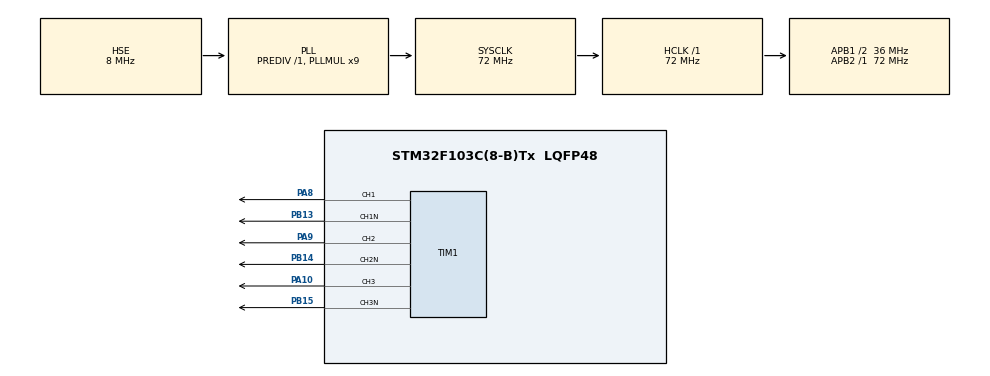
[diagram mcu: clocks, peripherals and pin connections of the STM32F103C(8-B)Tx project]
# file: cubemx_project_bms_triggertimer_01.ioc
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Mcu.Family=STM32F1
Mcu.Name=STM32F103C(8-B)Tx
Mcu.Package=LQFP48
NVIC.PriorityGroup=NVIC_PRIORITYGROUP_4
NVIC.RCC_IRQn=true\:0\:0\:false\:false\:true\:true\:false\:true
NVIC.TIM1_CC_IRQn=true\:0\:0\:false\:false\:true\:true\:true\:true
NVIC.TIM1_TRG_COM_IRQn=true\:0\:0\:false\:false\:true\:true\:true\:true
NVIC.TIM2_IRQn=true\:0\:0\:false\:false\:true\:true\:true\:true
PA10.GPIO_Speed=GPIO_SPEED_FREQ_HIGH
PA10.Signal=S_TIM1_CH3
PA13.Mode=Serial_Wire
PA13.Signal=SYS_JTMS-SWDIO
PA14.Mode=Serial_Wire
PA14.Signal=SYS_JTCK-SWCLK
PA8.GPIO_ModeDefaultPP=GPIO_MODE_AF_PP
PA8.GPIO_Speed=GPIO_SPEED_FREQ_HIGH
PA8.Signal=S_TIM1_CH1
PA9.GPIO_Speed=GPIO_SPEED_FREQ_HIGH
PA9.Signal=S_TIM1_CH2
PB13.GPIO_ModeDefaultPP=GPIO_MODE_AF_PP
PB13.GPIO_Speed=GPIO_SPEED_FREQ_HIGH
PB13.Mode=PWM Generation1 CH1 CH1N
PB13.Signal=TIM1_CH1N
PB14.GPIO_Speed=GPIO_SPEED_FREQ_HIGH
PB14.Mode=PWM Generation2 CH2 CH2N
PB14.Signal=TIM1_CH2N
PB15.GPIO_Speed=GPIO_SPEED_FREQ_HIGH
PB15.Mode=PWM Generation3 CH3 CH3N
PB15.Signal=TIM1_CH3N
PD0-OSC_IN.Mode=HSE-External-Oscillator
PD0-OSC_IN.Signal=RCC_OSC_IN
PD1-OSC_OUT.Mode=HSE-External-Oscillator
PD1-OSC_OUT.Signal=RCC_OSC_OUT
ProjectManager.HeapSize=0x200
ProjectManager.StackSize=0x400
ProjectManager.TargetToolchain=STM32CubeIDE
RCC.AHBFreq_Value=72000000
RCC.APB1CLKDivider=RCC_HCLK_DIV2
RCC.APB1Freq_Value=36000000
RCC.APB1TimFreq_Value=72000000
RCC.APB2Freq_Value=72000000
RCC.APB2TimFreq_Value=72000000
RCC.HCLKFreq_Value=72000000
RCC.PLLMUL=RCC_PLL_MUL9
RCC.PLLSourceVirtual=RCC_PLLSOURCE_HSE
RCC.SYSCLKFreq_VALUE=72000000
RCC.SYSCLKSource=RCC_SYSCLKSOURCE_PLLCLK
RCC.USBFreq_Value=72000000
SH.S_TIM1_CH1.0=TIM1_CH1,PWM Generation1 CH1 CH1N
SH.S_TIM1_CH2.0=TIM1_CH2,PWM Generation2 CH2 CH2N
SH.S_TIM1_CH3.0=TIM1_CH3,PWM Generation3 CH3 CH3N
TIM1.Channel-PWM\ Generation1\ CH1\ CH1N=TIM_CHANNEL_1
TIM1.Channel-PWM\ Generation2\ CH2\ CH2N=TIM_CHANNEL_2
TIM1.Channel-PWM\ Generation3\ CH3\ CH3N=TIM_CHANNEL_3
TIM1.OCFastMode_PWM-PWM\ Generation1\ CH1\ CH1N=TIM_OCFAST_DISABLE
TIM1.OCFastMode_PWM-PWM\ Generation2\ CH2\ CH2N=TIM_OCFAST_DISABLE
TIM1.OCFastMode_PWM-PWM\ Generation3\ CH3\ CH3N=TIM_OCFAST_DISABLE
TIM1.TIM_MasterOutputTrigger=TIM_TRGO_UPDATE
TIM1.TIM_MasterSlaveMode=TIM_MASTERSLAVEMODE_ENABLE
VP_TIM1_VS_ClockSourceINT.Mode=Internal
VP_TIM2_VS_ClockSourceINT.Mode=Internal
VP_TIM2_VS_ClockSourceITR.Mode=TriggerSource_ITR0
VP_TIM2_VS_ControllerModeReset.Mode=Reset Mode
board=custom

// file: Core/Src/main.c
/* USER CODE BEGIN Header */
/**
  ******************************************************************************
  * @file           : main.c
  * @brief          : Main program body
  ******************************************************************************
  * @attention
  *
  * Copyright (c) 2024 STMicroelectronics.
  * All rights reserved.
  *
  * This software is licensed under terms that can be found in the LICENSE file
  * in the root directory of this software component.
  * If no LICENSE file comes with this software, it is provided AS-IS.
  *
  ******************************************************************************
  */
/* USER CODE END Header */
#include "main.h"

TIM_HandleTypeDef htim1;
TIM_HandleTypeDef htim2;

/* USER CODE BEGIN PV */
uint16_t count1;
uint16_t count2;
uint16_t autoReload = 60;
uint16_t prescaler = 12;
/* USER CODE END PV */

void SystemClock_Config(void);
static void MX_GPIO_Init(void);
static void MX_TIM1_Init(void);
static void MX_TIM2_Init(void);
/* USER CODE BEGIN PFP */
void UsrInitPwm(void);
void UsrTim2Init(void);
void UsrInitGpio(void);
/* USER CODE END PFP */

int main(void)
{

  /* MCU Configuration--------------------------------------------------------*/

  /* Reset of all peripherals, Initializes the Flash interface and the Systick. */
  HAL_Init();

  /* Configure the system clock */
  SystemClock_Config();

  /* Initialize all configured peripherals */
  MX_GPIO_Init();
  MX_TIM1_Init();
  MX_TIM2_Init();
  /* USER CODE BEGIN 2 */
  UsrTim2Init();
  UsrInitPwm();
  UsrInitGpio();
  /* USER CODE END 2 */

  /* Infinite loop */
  while (1)
  {

  }
}

void SystemClock_Config(void)
{
  RCC_OscInitTypeDef RCC_OscInitStruct = {0};
  RCC_ClkInitTypeDef RCC_ClkInitStruct = {0};

  /** Initializes the RCC Oscillators according to the specified parameters
  * in the RCC_OscInitTypeDef structure.
  */
  RCC_OscInitStruct.OscillatorType = RCC_OSCILLATORTYPE_HSE;
  RCC_OscInitStruct.HSEState = RCC_HSE_ON;
  RCC_OscInitStruct.HSEPredivValue = RCC_HSE_PREDIV_DIV1;
  RCC_OscInitStruct.HSIState = RCC_HSI_ON;
  RCC_OscInitStruct.PLL.PLLState = RCC_PLL_ON;
  RCC_OscInitStruct.PLL.PLLSource = RCC_PLLSOURCE_HSE;
  RCC_OscInitStruct.PLL.PLLMUL = RCC_PLL_MUL9;
  if (HAL_RCC_OscConfig(&RCC_OscInitStruct) != HAL_OK)
  {
    Error_Handler();
  }

  /** Initializes the CPU, AHB and APB buses clocks
  */
  RCC_ClkInitStruct.ClockType = RCC_CLOCKTYPE_HCLK|RCC_CLOCKTYPE_SYSCLK
                              |RCC_CLOCKTYPE_PCLK1|RCC_CLOCKTYPE_PCLK2;
  RCC_ClkInitStruct.SYSCLKSource = RCC_SYSCLKSOURCE_PLLCLK;
  RCC_ClkInitStruct.AHBCLKDivider = RCC_SYSCLK_DIV1;
  RCC_ClkInitStruct.APB1CLKDivider = RCC_HCLK_DIV2;
  RCC_ClkInitStruct.APB2CLKDivider = RCC_HCLK_DIV1;

  if (HAL_RCC_ClockConfig(&RCC_ClkInitStruct, FLASH_LATENCY_2) != HAL_OK)
  {
    Error_Handler();
  }
}

static void MX_TIM1_Init(void)
{

  TIM_ClockConfigTypeDef sClockSourceConfig = {0};
  TIM_MasterConfigTypeDef sMasterConfig = {0};
  TIM_OC_InitTypeDef sConfigOC = {0};
  TIM_BreakDeadTimeConfigTypeDef sBreakDeadTimeConfig = {0};

  htim1.Instance = TIM1;
  htim1.Init.Prescaler = 0;
  htim1.Init.CounterMode = TIM_COUNTERMODE_UP;
  htim1.Init.Period = 65535;
  htim1.Init.ClockDivision = TIM_CLOCKDIVISION_DIV1;
  htim1.Init.RepetitionCounter = 0;
  htim1.Init.AutoReloadPreload = TIM_AUTORELOAD_PRELOAD_DISABLE;
  if (HAL_TIM_Base_Init(&htim1) != HAL_OK)
  {
    Error_Handler();
  }
  sClockSourceConfig.ClockSource = TIM_CLOCKSOURCE_INTERNAL;
  if (HAL_TIM_ConfigClockSource(&htim1, &sClockSourceConfig) != HAL_OK)
  {
    Error_Handler();
  }
  if (HAL_TIM_PWM_Init(&htim1) != HAL_OK)
  {
    Error_Handler();
  }
  sMasterConfig.MasterOutputTrigger = TIM_TRGO_UPDATE;
  sMasterConfig.MasterSlaveMode = TIM_MASTERSLAVEMODE_ENABLE;
  if (HAL_TIMEx_MasterConfigSynchronization(&htim1, &sMasterConfig) != HAL_OK)
  {
    Error_Handler();
  }
  sConfigOC.OCMode = TIM_OCMODE_PWM1;
  sConfigOC.Pulse = 0;
  sConfigOC.OCPolarity = TIM_OCPOLARITY_HIGH;
  sConfigOC.OCNPolarity = TIM_OCNPOLARITY_HIGH;
  sConfigOC.OCFastMode = TIM_OCFAST_DISABLE;
  sConfigOC.OCIdleState = TIM_OCIDLESTATE_RESET;
  sConfigOC.OCNIdleState = TIM_OCNIDLESTATE_RESET;
  if (HAL_TIM_PWM_ConfigChannel(&htim1, &sConfigOC, TIM_CHANNEL_1) != HAL_OK)
  {
    Error_Handler();
  }
  if (HAL_TIM_PWM_ConfigChannel(&htim1, &sConfigOC, TIM_CHANNEL_2) != HAL_OK)
  {
    Error_Handler();
  }
  if (HAL_TIM_PWM_ConfigChannel(&htim1, &sConfigOC, TIM_CHANNEL_3) != HAL_OK)
  {
    Error_Handler();
  }
  sBreakDeadTimeConfig.OffStateRunMode = TIM_OSSR_DISABLE;
  sBreakDeadTimeConfig.OffStateIDLEMode = TIM_OSSI_DISABLE;
  sBreakDeadTimeConfig.LockLevel = TIM_LOCKLEVEL_OFF;
  sBreakDeadTimeConfig.DeadTime = 0;
  sBreakDeadTimeConfig.BreakState = TIM_BREAK_DISABLE;
  sBreakDeadTimeConfig.BreakPolarity = TIM_BREAKPOLARITY_HIGH;
  sBreakDeadTimeConfig.AutomaticOutput = TIM_AUTOMATICOUTPUT_DISABLE;
  if (HAL_TIMEx_ConfigBreakDeadTime(&htim1, &sBreakDeadTimeConfig) != HAL_OK)
  {
    Error_Handler();
  }
  HAL_TIM_MspPostInit(&htim1);

}

static void MX_TIM2_Init(void)
{

  TIM_ClockConfigTypeDef sClockSourceConfig = {0};
  TIM_SlaveConfigTypeDef sSlaveConfig = {0};
  TIM_MasterConfigTypeDef sMasterConfig = {0};

  htim2.Instance = TIM2;
  htim2.Init.Prescaler = 0;
  htim2.Init.CounterMode = TIM_COUNTERMODE_UP;
  htim2.Init.Period = 65535;
  htim2.Init.ClockDivision = TIM_CLOCKDIVISION_DIV1;
  htim2.Init.AutoReloadPreload = TIM_AUTORELOAD_PRELOAD_DISABLE;
  if (HAL_TIM_Base_Init(&htim2) != HAL_OK)
  {
    Error_Handler();
  }
  sClockSourceConfig.ClockSource = TIM_CLOCKSOURCE_INTERNAL;
  if (HAL_TIM_ConfigClockSource(&htim2, &sClockSourceConfig) != HAL_OK)
  {
    Error_Handler();
  }
  sSlaveConfig.SlaveMode = TIM_SLAVEMODE_RESET;
  sSlaveConfig.InputTrigger = TIM_TS_ITR0;
  if (HAL_TIM_SlaveConfigSynchro(&htim2, &sSlaveConfig) != HAL_OK)
  {
    Error_Handler();
  }
  sMasterConfig.MasterOutputTrigger = TIM_TRGO_RESET;
  sMasterConfig.MasterSlaveMode = TIM_MASTERSLAVEMODE_DISABLE;
  if (HAL_TIMEx_MasterConfigSynchronization(&htim2, &sMasterConfig) != HAL_OK)
  {
    Error_Handler();
  }

}

static void MX_GPIO_Init(void)
{

  /* GPIO Ports Clock Enable */
  __HAL_RCC_GPIOD_CLK_ENABLE();
  __HAL_RCC_GPIOB_CLK_ENABLE();
  __HAL_RCC_GPIOA_CLK_ENABLE();

}

/* USER CODE BEGIN 4 */
void UsrInitGpio(void)
{
	GPIOA->CRL &= (uint32_t)0x00000000;
	GPIOB->CRL &= (uint32_t)0x00000000;

	GPIOA->CRH &= (uint32_t)0x00000000;
	GPIOA->CRH |= (uint32_t)0x00000BBB;

	GPIOB->CRH &= (uint32_t)0x00000000;
	GPIOB->CRH |= (uint32_t)0xBBB00000;

}

void UsrInitPwm(void)
{
    // Zamanlayıcı ayarları
	TIM1->PSC = prescaler - 1;
	TIM1->ARR = autoReload - 1;  // Auto-reload register

    // PWM mode 1 (upcounting, TIMx_CCRx < TIMx_CNT) oc1 and oc2
	TIM1->CCMR1 &= ~(TIM_CCMR1_OC1M | TIM_CCMR1_OC2M);
	TIM1->CCMR1 |= (uint32_t)0x6C6C;  // pwm mode 1 and output compare enable

	TIM1->CCMR2 &= ~(TIM_CCMR2_OC3M);
	TIM1->CCMR2 |= (uint32_t)0x006C;

    // Capture/compare register
	TIM1->CCR1 = (autoReload) * (0.7);  // Duty cycle %50
	TIM1->CCR2 = (autoReload) * (0.8);
	TIM1->CCR3 = (autoReload) * (0.9);

	TIM1->CCER |= (uint32_t)0x0555; // TIM1_CH1 TIM1_CH2 TIM1_CH3 output enable and TIM1_CH1N TIM1_CH2N TIM1_CH3N complementary output enable

    // Break and dead-time register (BDTR)
	TIM1->BDTR |= (uint32_t)0x8800;  // MOE enable and OSSI disable

    // Counter enable
	TIM1->CR1 |= (uint32_t)0x01;  // Counter enable
}

void UsrTim2Init(void)
{
	TIM2->PSC = 719 - 1;
	TIM2->ARR = 100 - 1;

	TIM2->SMCR |= (uint32_t)0x56; // bit[6:4] 101: Filtered Timer Input 1 (TI1FP1)  and  bit[2:0] 10: Trigger mode

	TIM2->DIER |= (uint32_t)0x01;  // update interrupt enable

	NVIC_EnableIRQ(TIM2_IRQn);
	TIM2->CR1 |= (uint32_t)0x01;  // counter enable
}
/* USER CODE END 4 */

void Error_Handler(void)
{
  __disable_irq();
  while (1)
  {
  }
}
